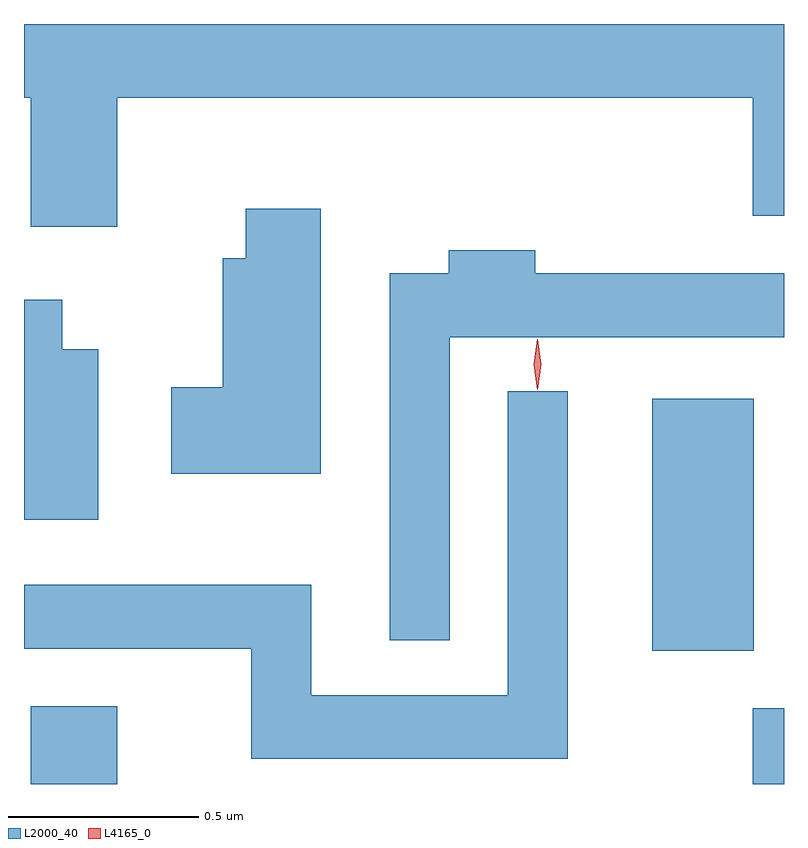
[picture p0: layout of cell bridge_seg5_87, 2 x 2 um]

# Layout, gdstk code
import gdstk
lib = gdstk.Library(unit=1e-6, precision=1e-09)
def R(c, l, rs):  # rectangles x0, y0, x1, y1
    for r in rs: c.add(gdstk.rectangle(r[:2], r[2:], *l))
def P(c, l, *ps):  # polygons
    for p in ps: c.add(gdstk.Polygon(p, *l))
L2000_40 = (2000, 40)
L4165_0 = (4165, 0)

bridge_seg5_87 = lib.new_cell('bridge_seg5_87')
R(bridge_seg5_87, L2000_40, [(1203.001,1497.17,1203.229,1497.374), (1204.901,1497.17,1204.983,1497.369), (1204.636,1497.521,1204.904,1498.184)])
P(bridge_seg5_87, L2000_40, [(1203.229,1498.976),(1204.901,1498.976),(1204.901,1498.666),(1204.983,1498.666),(1204.983,1499.17),(1202.983,1499.17),(1202.983,1498.976),(1203.001,1498.976),(1203.001,1498.636),(1203.229,1498.636)],
  [(1203.764,1498.684),(1203.566,1498.684),(1203.566,1498.554),(1203.506,1498.554),(1203.506,1498.214),(1203.371,1498.214),(1203.371,1497.986),(1203.764,1497.986)],
  [(1204.104,1498.346),(1204.983,1498.346),(1204.983,1498.514),(1204.329,1498.514),(1204.329,1498.574),(1204.101,1498.574),(1204.101,1498.514),(1203.946,1498.514),(1203.946,1497.548),(1204.104,1497.548)],
  [(1203.179,1498.314),(1203.084,1498.314),(1203.084,1498.444),(1202.983,1498.444),(1202.983,1497.866),(1203.179,1497.866)],
  [(1204.414,1498.203),(1204.256,1498.203),(1204.256,1497.404),(1203.739,1497.404),(1203.739,1497.694),(1202.983,1497.694),(1202.983,1497.526),(1203.581,1497.526),(1203.581,1497.236),(1204.414,1497.236)])
P(bridge_seg5_87, L4165_0, [(1204.334,1498.207),(1204.334,1498.207),(1204.324,1498.274),(1204.334,1498.34),(1204.334,1498.341),(1204.335,1498.34),(1204.344,1498.274),(1204.335,1498.207)])

lib.write_gds('bridge_seg5_87.gds')
